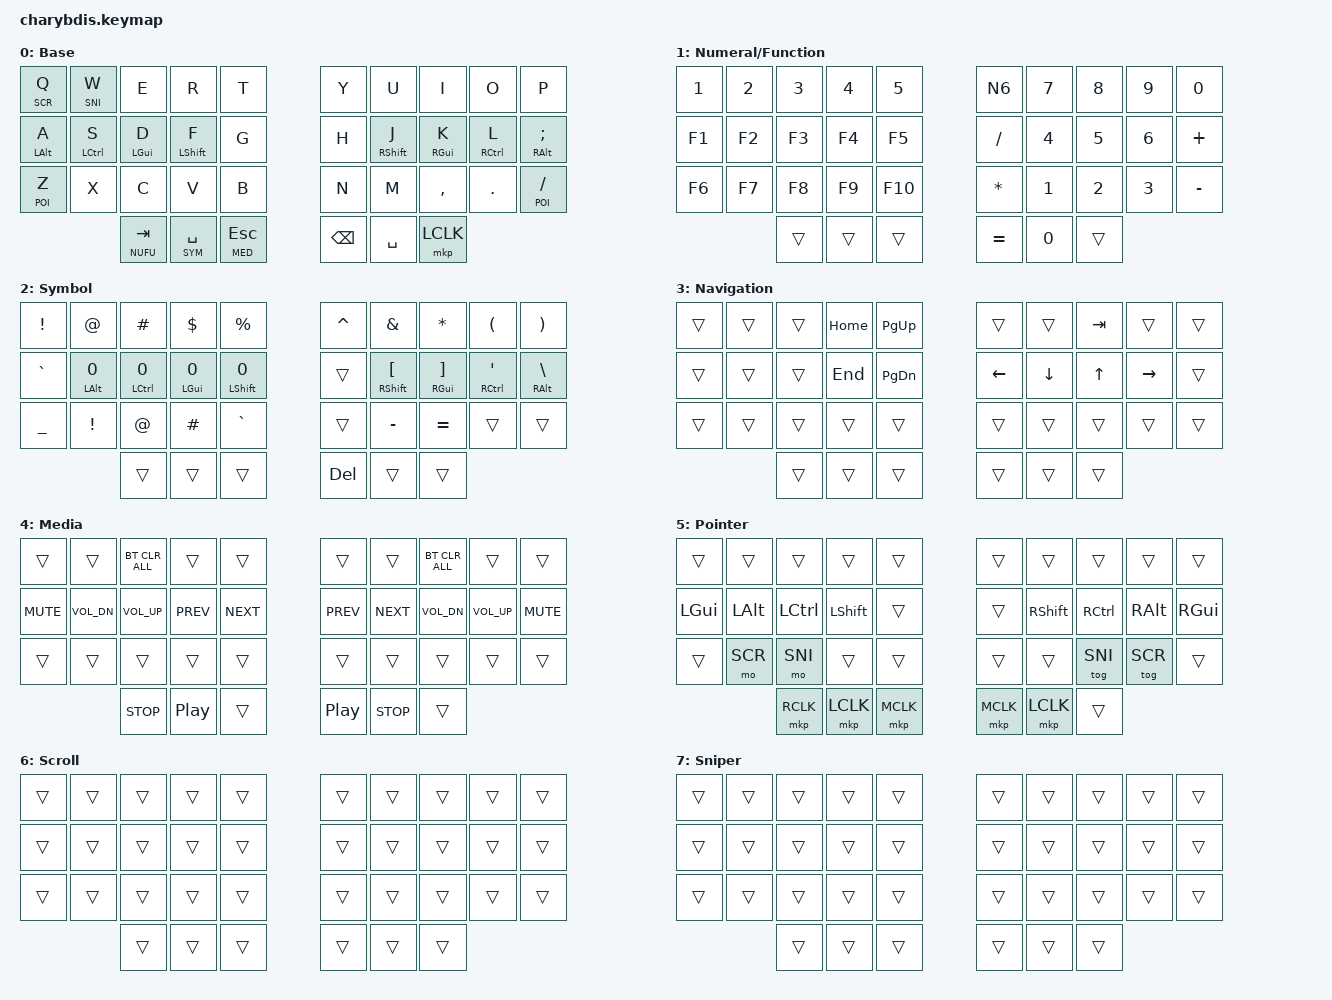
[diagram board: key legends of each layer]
#include <dt-bindings/zmk/mouse.h>
#include <behaviors/mouse_keys.dtsi>
#include <behaviors.dtsi>
#include <dt-bindings/zmk/bt.h>
#include <dt-bindings/zmk/keys.h>

#define BASE 0
#define NUFU 1
#define SYM 2
#define NAV 3
#define MED 4
#define POI 5
#define SCR 6
#define SNI 7

&sl {
  release-after-ms = <250>;
};

&mt {
    tapping-term-ms = <200>;
    require-prior-idle-ms = <150>;
};

/ {
    chosen { zmk,matrix_transform = &five_column_transform; };

    #include "combos.dtsi"

    behaviors {
        hml: homewrow_mods_left {
            compatible = "zmk,behavior-hold-tap";
            label = "HOMEROW_MODS_LEFT_HAND";
            bindings = <&kp>, <&kp>;

            #binding-cells = <2>;
            tapping-term-ms = <280>;
            hold-trigger-key-positions = <5 6 7 8 9 15 16 17 18 19 25 26 27 28 29 33 34>;
            flavor = "balanced";
            quick-tap-ms = <175>;
            require-prior-idle-ms = <125>;
            hold-trigger-on-release;
        };

        hmr: homewrow_mods_right {
            compatible = "zmk,behavior-hold-tap";
            label = "HOMEROW_MODS_RIGHT_HAND";
            bindings = <&kp>, <&kp>;

            #binding-cells = <2>;
            tapping-term-ms = <280>;
            hold-trigger-key-positions = <0 1 2 3 4 10 11 12 13 14 20 21 22 23 24 30 31 32>;
            flavor = "balanced";
            quick-tap-ms = <175>;
            require-prior-idle-ms = <125>;
            hold-trigger-on-release;
        };
    };


    keymap {
        compatible = "zmk,keymap";
        Base {
            label = "Base";
            bindings = <
              &lt SCR Q  &lt SNI W  &kp        E  &kp        R  &kp T        &kp Y  &kp        U  &kp I  &kp O  &kp P  
              &hml LALT A  &hml LCTRL S  &hml LGUI D  &hml LSHFT F  &kp G        &kp H  &hmr RSHFT J  &hmr RGUI K  &hmr RCTRL L  &hmr RALT SEMICOLON  
              &lt   POI Z  &kp       X  &kp        C  &kp        V  &kp B        &kp N  &kp        M  &kp    COMMA  &kp     DOT  &lt POI SLASH
                                &lt NUFU TAB  &lt SYM SPACE  &lt MED ESC          &kp BACKSPACE  &kp SPACE  &mkp LCLK
            >;
        };

        NuFu {
            label = "Numeral/Function";
            bindings = <
                &kp N1  &kp N2  &kp N3  &kp N4 &kp N5        &N6  &kp N7  &kp N8  &kp N9  &kp N0
                &kp F1  &kp F2  &kp F3  &kp F4 &kp F5        &kp /  &kp N4  &kp N5  &kp N6  &kp +
                &kp F6  &kp F7  &kp F8  &kp F9 &kp F10        &kp *  &kp N1  &kp N2  &kp N3  &kp -
                                &trans  &trans  &trans        &kp = &kp N0 &trans
            >;
        };

        Symbol {
            label = "Symbol";
            bindings = <
              &kp EXCL &kp AT  &kp HASH   &kp DLLR    &kp PRCNT        &kp CARET  &kp AMPS  &kp ASTRK  &kp LPAR  &kp RPAR
              &kp GRAVE &hml LALT 0 &hml LCTRL 0  &hml LGUI 0 &hml LSHFT 0                  &trans &hmr RSHFT LBKT  &hmr RGUI RBKT  &hmr RCTRL APOS &hmr RALT BSLH
              &kp UNDER &kp EXCL  &kp AT     &kp HASH  &kp GRAVE       &trans &kp MINUS &kp EQUAL &trans  &trans
                                  &trans     &trans    &trans          &kp DELETE &trans &trans
            >;
        };

        Navigation {
            label = "Navigation";
            bindings = <
                         &trans  &trans  &trans  &kp HOME  &kp PAGE_UP         &trans    &trans         &kp TAB      &trans    &trans
                         &trans  &trans  &trans  &kp END  &kp PAGE_DOWN         &kp LEFT  &kp DOWN       &kp UP       &kp RIGHT &trans
                         &trans  &trans  &trans  &trans  &trans         &trans   &trans    &trans         &trans       &trans 
                                         &trans  &trans  &trans         &trans    &trans &trans
            >;
        };

        Media {
            label = "Media";
            bindings = <
              &trans     &trans        &bt BT_CLR_ALL &trans       &trans            &trans      &trans        &bt BT_CLR_ALL  &trans        &trans
              &kp C_MUTE &kp C_VOL_DN  &kp C_VOL_UP     &kp C_PREV &kp C_NEXT        &kp C_PREV  &kp C_NEXT  &kp C_VOL_DN      &kp C_VOL_UP  &kp C_MUTE
              &trans     &trans        &trans         &trans       &trans            &trans      &trans        &trans          &trans        &trans
                                       &kp C_STOP    &kp C_PLAY_PAUSE  &trans        &kp C_PLAY_PAUSE  &kp C_STOP &trans
            >;
        };

        Pointer {
            label = "Pointer";
            bindings = <
              &trans       &trans       &trans        &trans        &trans               &trans &trans        &trans        &trans       &trans
              &kp LGUI     &kp LALT     &kp LCTRL     &kp LSHFT     &trans               &trans &kp RSHFT     &kp RCTRL     &kp RALT     &kp RGUI
              &trans       &mo SCR      &mo SNI       &trans        &trans               &trans &trans        &tog SNI      &tog SCR     &trans
                                            &mkp RCLK  &mkp LCLK  &mkp MCLK         &mkp MCLK  &mkp LCLK &trans
            >;
        };

        Scroll {
            label = "Scroll";
            bindings = <
                &trans  &trans  &trans  &trans  &trans    &trans  &trans  &trans  &trans  &trans
                &trans  &trans  &trans  &trans  &trans    &trans  &trans  &trans  &trans  &trans
                &trans  &trans  &trans  &trans  &trans    &trans  &trans  &trans  &trans  &trans
                                &trans  &trans  &trans    &trans  &trans  &trans
            >;
        };

        Sniper {
            label = "Sniper";
            bindings = <
                &trans  &trans  &trans  &trans  &trans    &trans  &trans  &trans  &trans  &trans
                &trans  &trans  &trans  &trans  &trans    &trans  &trans  &trans  &trans  &trans
                &trans  &trans  &trans  &trans  &trans    &trans  &trans  &trans  &trans  &trans
                                &trans  &trans  &trans    &trans  &trans  &trans
            >;
        };
    };
};
